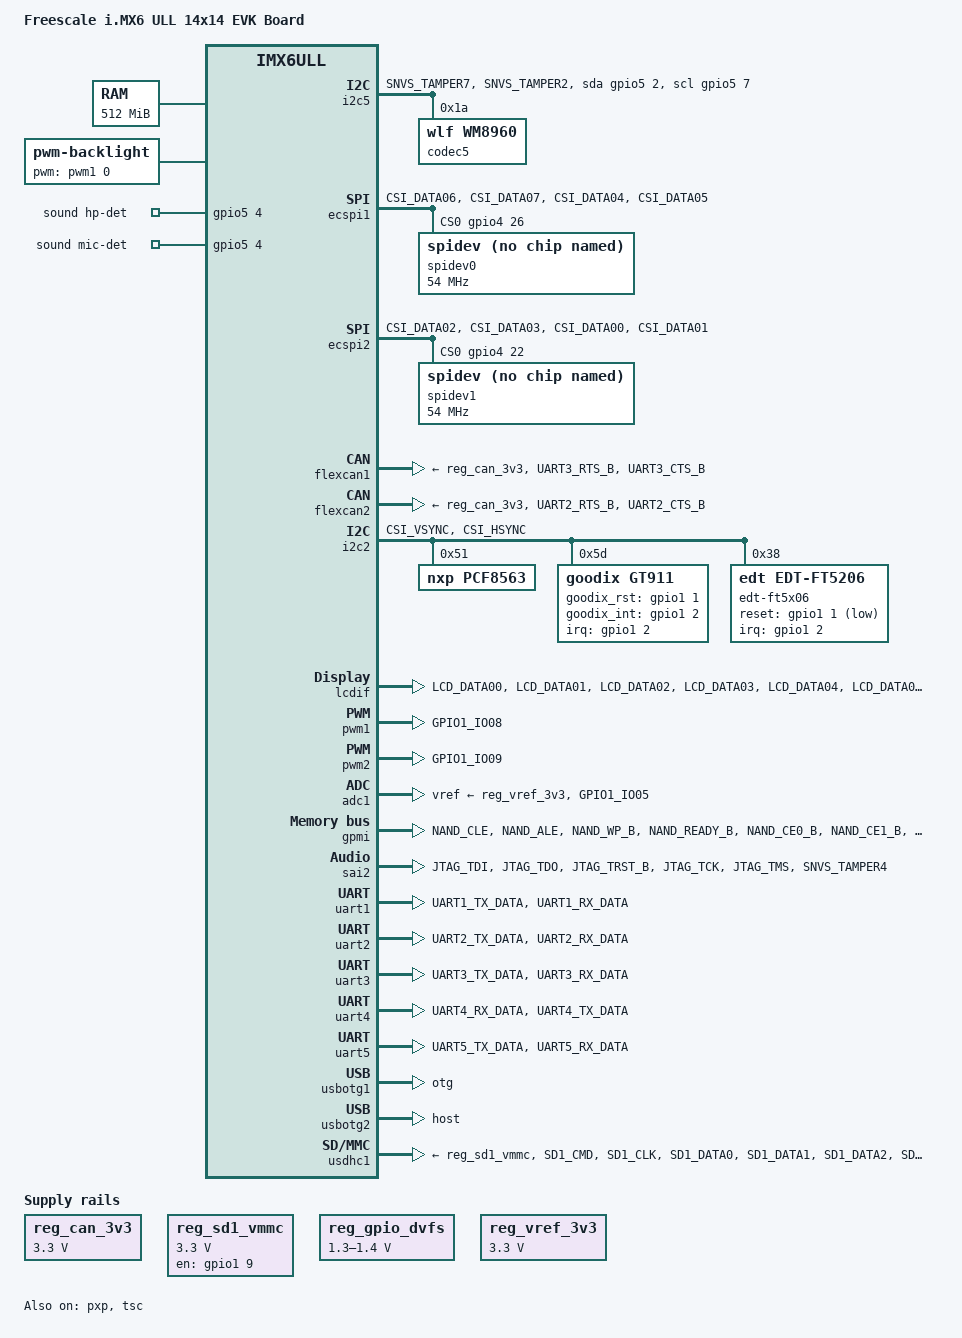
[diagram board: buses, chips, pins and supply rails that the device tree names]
/*
 * Copyright (C) 2016 Freescale Semiconductor, Inc.
 *
 * This program is free software; you can redistribute it and/or modify
 * it under the terms of the GNU General Public License version 2 as
 * published by the Free Software Foundation.
 */

/dts-v1/;

#include <dt-bindings/input/input.h>
#include "imx6ull.dtsi"


/*******************************
** clock tree datasheet P629 **
*******************************/

/ {
	model = "Freescale i.MX6 ULL 14x14 EVK Board";
	compatible = "fsl,imx6ull-14x14-evk", "fsl,imx6ull";

	chosen {
		stdout-path = &uart1;
	};

	memory {
		reg = <0x80000000 0x20000000>;
	};

	reserved-memory {
		#address-cells = <1>;
		#size-cells = <1>;
		ranges;

		linux,cma {
			compatible = "shared-dma-pool";
			reusable;
			size = <0x14000000>;
			linux,cma-default;
		};
	};

	backlight {
		compatible = "pwm-backlight";
		pwms = <&pwm1 0 5000000>;
		brightness-levels = <0 4 8 16 32 64 128 255>;
		default-brightness-level = <6>;
		status = "okay";
	};

	pxp_v4l2 {
		compatible = "fsl,imx6ul-pxp-v4l2", "fsl,imx6sx-pxp-v4l2", "fsl,imx6sl-pxp-v4l2";
		status = "okay";
	};

	regulators {
		compatible = "simple-bus";
		#address-cells = <1>;
		#size-cells = <0>;

		reg_can_3v3: regulator@0 {
			compatible = "regulator-fixed";
			reg = <0>;
			regulator-name = "can-3v3";
			regulator-min-microvolt = <3300000>;
			regulator-max-microvolt = <3300000>;
		};

		reg_sd1_vmmc: regulator@1 {
			compatible = "regulator-fixed";
			regulator-name = "VSD_3V3";
			regulator-min-microvolt = <3300000>;
			regulator-max-microvolt = <3300000>;
			gpio = <&gpio1 9 GPIO_ACTIVE_HIGH>;
			enable-active-high;
		};

		reg_gpio_dvfs: regulator-gpio {
			compatible = "regulator-gpio";
			pinctrl-names = "default";
			pinctrl-0 = <&pinctrl_dvfs>;
			regulator-min-microvolt = <1300000>;
			regulator-max-microvolt = <1400000>;
			regulator-name = "gpio_dvfs";
			regulator-type = "voltage";
			gpios = <&gpio5 3 GPIO_ACTIVE_HIGH>;
			states = <1300000 0x1 1400000 0x0>;
		};

		reg_vref_3v3: regulator@2 {
			compatible = "regulator-fixed";
			regulator-name = "vref-3v3";
			regulator-min-microvolt = <3300000>;
			regulator-max-microvolt = <3300000>;
		};

	};

	sound {
		compatible = "fsl,imx6ul-evk-wm8960",
			   "fsl,imx-audio-wm8960";
		model = "wm8960-audio";
		cpu-dai = <&sai2>;
		audio-codec = <&codec5>;
		asrc-controller = <&asrc>;
		codec-master;
		gpr = <&gpr 4 0x100000 0x100000>;
		/*
                 * hp-det = <hp-det-pin hp-det-polarity>;
		 * hp-det-pin: JD1 JD2  or JD3
		 * hp-det-polarity = 0: hp detect high for headphone
		 * hp-det-polarity = 1: hp detect high for speaker
		 */
		hp-det = <3 0>;
		hp-det-gpios = <&gpio5 4 0>;
		mic-det-gpios = <&gpio5 4 0>;
		audio-routing =
			"Headphone Jack", "HP_L",
			"Headphone Jack", "HP_R",
			"Ext Spk", "SPK_LP",
			"Ext Spk", "SPK_LN",
			"Ext Spk", "SPK_RP",
			"Ext Spk", "SPK_RN",
			"LINPUT2", "Mic Jack",
			"LINPUT3", "Mic Jack",
			"RINPUT1", "Main MIC",
			"RINPUT2", "Main MIC",
			"Mic Jack", "MICB",
			"Main MIC", "MICB",
			"CPU-Playback", "ASRC-Playback",
			"Playback", "CPU-Playback",
			"ASRC-Capture", "CPU-Capture",
			"CPU-Capture", "Capture";
	};

	spi4 {
		compatible = "spi-gpio";
		pinctrl-names = "default";
		pinctrl-0 = <&pinctrl_spi4>;
		pinctrl-assert-gpios = <&gpio5 8 GPIO_ACTIVE_LOW>;
		status = "disabled";
		gpio-sck = <&gpio5 11 0>;
		gpio-mosi = <&gpio5 10 0>;
		cs-gpios = <&gpio5 7 0>;
		num-chipselects = <1>;
		#address-cells = <1>;
		#size-cells = <0>;

		gpio_spi: gpio_spi@0 {
			compatible = "fairchild,74hc595";
			gpio-controller;
			#gpio-cells = <2>;
			reg = <0>;
			registers-number = <1>;
			registers-default = /bits/ 8 <0x57>;
			spi-max-frequency = <100000>;
		};
	};
	leds {
		compatible = "gpio-leds";
		pinctrl-names = "default";
		pinctrl-0 = <&pinctrl_leds>;
		status = "disabled";
/*
		led1 {
			label = "LED1";
			gpios = <&gpio5 2 GPIO_ACTIVE_HIGH>;	//led 使用的引脚，与触发电平
		};
		led2 {
			label = "LED2";
			gpios = <&gpio5 7 GPIO_ACTIVE_HIGH>;
		};
*/		
	};
	//gpio 作为输入时
	gpio-keys {
        compatible = "gpio-keys";
        pinctrl-names = "default";
        pinctrl-0 = <&pinctrl_keys>;
		status = "disabled";
        key0 {
            label = "F1";   
            gpios = <&gpio1 10 GPIO_ACTIVE_HIGH>;  
            gpio-key,wakeup;        
            linux,code = <KEY_F1>; 		//键值。include/dt-bindings/input/input.h
        };
    };

	i2c5 {
		compatible = "i2c-gpio";
		pinctrl-0 = <&pinctrl_gpio_i2c5>;
		//sda, scl
		gpios = <&gpio5 2 GPIO_ACTIVE_HIGH>, <&gpio5 7 GPIO_ACTIVE_HIGH>;

		i2c-gpio,delay-us = <5>;	/* 10us , 100 kHz */
		#address-cells = <1>;
		#size-cells = <0>;
//		status = "disabled";
		status = "okay";

		codec5: wm8960@1a {
			compatible = "wlf,wm8960";
			reg = <0x1a>;
			clocks = <&clks IMX6UL_CLK_SAI2>;
			clock-names = "mclk";
			wlf,shared-lrclk;
		};

	};
};

&ecspi1 {
	fsl,spi-num-chipselects = <1>;
	cs-gpios = <&gpio4 26 0>;
	pinctrl-names = "default";
	pinctrl-0 = <&pinctrl_ecspi1 &pinctrl_ecspi1_cs>;
	status = "okay";

	spidev0: spi@0 {
		compatible = "spidev";
		reg = <0>;
		spi-max-frequency = <54000000>;
	};
/*
	eeprom: at25@0 {
		compatible = "atmel,at25";

		at25,byte-len = <0x100>;
		at25,addr-mode = <1>; //1:8bit addr 2:16bit addr 4:24bit addr
		at25,page-size = <64>;

		spi-max-frequency = <50000000>;
		reg = <0>;
	};
*/
};

&ecspi2 {
	fsl,spi-num-chipselects = <1>;
	cs-gpios = <&gpio4 22 0>;
	pinctrl-names = "default";
	pinctrl-0 = <&pinctrl_ecspi2 &pinctrl_ecspi2_cs>;
	status = "ok";

	spidev1: spi@0 {
		compatible = "spidev";
		reg = <0>;
		spi-max-frequency = <54000000>;
	};

};

&cpu0 {
	arm-supply = <&reg_arm>;
	soc-supply = <&reg_soc>;
	dc-supply = <&reg_gpio_dvfs>;
};

&clks {
	assigned-clocks = <&clks IMX6UL_CLK_PLL4_AUDIO_DIV>;
	assigned-clock-rates = <786432000>;
};
/*
&epit1{
	pinctrl-0 = <&pinctrl_gpio_epit>;
	clkname="imx-epit.0";
	dbgio= <&gpio5 2 GPIO_ACTIVE_HIGH>;
	status = "ok";	
};
*/
&epit2{
	clkname="imx-epit.1";
	status = "disabled";	
};			

&flexcan1 {
	pinctrl-names = "default";
	pinctrl-0 = <&pinctrl_flexcan1>;
	xceiver-supply = <&reg_can_3v3>;
	status = "okay";
};

&flexcan2 {
	pinctrl-names = "default";
	pinctrl-0 = <&pinctrl_flexcan2>;
	xceiver-supply = <&reg_can_3v3>;
	status = "okay";
};

&gpc {
	fsl,cpu_pupscr_sw2iso = <0x1>;
	fsl,cpu_pupscr_sw = <0x0>;
	fsl,cpu_pdnscr_iso2sw = <0x1>;
	fsl,cpu_pdnscr_iso = <0x1>;
	fsl,ldo-bypass = <0>; /* DCDC, ldo-enable */
};
//与串口6冲突
&i2c1 {
	clock_frequency = <100000>;
	pinctrl-names = "default";
	pinctrl-0 = <&pinctrl_i2c1>;
	status = "disabled";
//	status = "ok";
/*
	codec5: wm8960@1a {
		compatible = "wlf,wm8960";
		reg = <0x1a>;
		clocks = <&clks IMX6UL_CLK_SAI2>;
		clock-names = "mclk";
		wlf,shared-lrclk;
		status = "ok";
	};
*/
};

&i2c2 {
	clock_frequency = <50000>;
	pinctrl-names = "default";
	pinctrl-0 = <&pinctrl_i2c2>;
	//status = "disabled";
	status = "ok";

	pcf8563@51 {
		compatible = "nxp,pcf8563";
		reg = <0x51>;
	};
	/*
	codec5: wm8960@1a {
		compatible = "wlf,wm8960";
		reg = <0x1a>;
		clocks = <&clks IMX6UL_CLK_SAI2>;
		clock-names = "mclk";
		wlf,shared-lrclk;
	};
*/
	gt911@5d {
		compatible = "goodix,gt911";
		reg = <0x5d>;
		interrupt-parent = <&gpio1>;
		interrupts = <2 IRQ_TYPE_EDGE_FALLING>;

		goodix_rst=<&gpio1 1 0>;
		goodix_int=<&gpio1 2 0>;

		status = "ok";
	};
	edt-ft5x06@38 {
			compatible = "edt,edt-ft5206", "edt,edt-ft5x06";
			reg = <0x38>;
			pinctrl-names = "default";
			interrupt-parent = <&gpio1>;
			interrupts = <2 IRQ_TYPE_EDGE_FALLING>;
			reset-gpios = <&gpio1 1 1>;
	};
};

&iomuxc {
	pinctrl-names = "default";
	pinctrl-0 = <&pinctrl_hog_1>;
	imx6ul-evk {
		    pinctrl_gpmi_nand_1: gpmi-nand-1 {
		        fsl,pins = <
		            MX6UL_PAD_NAND_CLE__RAWNAND_CLE         0xb0b1
		            MX6UL_PAD_NAND_ALE__RAWNAND_ALE         0xb0b1
		            MX6UL_PAD_NAND_WP_B__RAWNAND_WP_B       0xb0b1
		            MX6UL_PAD_NAND_READY_B__RAWNAND_READY_B 0xb000
		            MX6UL_PAD_NAND_CE0_B__RAWNAND_CE0_B     0xb0b1
		            MX6UL_PAD_NAND_CE1_B__RAWNAND_CE1_B     0xb0b1
		            MX6UL_PAD_NAND_RE_B__RAWNAND_RE_B       0xb0b1
		            MX6UL_PAD_NAND_WE_B__RAWNAND_WE_B       0xb0b1
		            MX6UL_PAD_NAND_DATA00__RAWNAND_DATA00   0xb0b1
		            MX6UL_PAD_NAND_DATA01__RAWNAND_DATA01   0xb0b1
		            MX6UL_PAD_NAND_DATA02__RAWNAND_DATA02   0xb0b1
		            MX6UL_PAD_NAND_DATA03__RAWNAND_DATA03   0xb0b1
		            MX6UL_PAD_NAND_DATA04__RAWNAND_DATA04   0xb0b1
		            MX6UL_PAD_NAND_DATA05__RAWNAND_DATA05   0xb0b1
		            MX6UL_PAD_NAND_DATA06__RAWNAND_DATA06   0xb0b1
		            MX6UL_PAD_NAND_DATA07__RAWNAND_DATA07   0xb0b1
		        >;
		    };	
		pinctrl_hog_1: hoggrp-1 {
			fsl,pins = <
				MX6UL_PAD_UART1_RTS_B__GPIO1_IO19	0x17059 /* SD1 CD */
			>;
		};

		pinctrl_csi1: csi1grp {
			fsl,pins = <
				MX6UL_PAD_CSI_MCLK__CSI_MCLK		0x1b088
				MX6UL_PAD_CSI_PIXCLK__CSI_PIXCLK	0x1b088
				MX6UL_PAD_CSI_VSYNC__CSI_VSYNC		0x1b088
				MX6UL_PAD_CSI_HSYNC__CSI_HSYNC		0x1b088
				MX6UL_PAD_CSI_DATA00__CSI_DATA02	0x1b088
				MX6UL_PAD_CSI_DATA01__CSI_DATA03	0x1b088
				MX6UL_PAD_CSI_DATA02__CSI_DATA04	0x1b088
				MX6UL_PAD_CSI_DATA03__CSI_DATA05	0x1b088
				MX6UL_PAD_CSI_DATA04__CSI_DATA06	0x1b088
				MX6UL_PAD_CSI_DATA05__CSI_DATA07	0x1b088
				MX6UL_PAD_CSI_DATA06__CSI_DATA08	0x1b088
				MX6UL_PAD_CSI_DATA07__CSI_DATA09	0x1b088
			>;
		};

		pinctrl_flexcan1: flexcan1grp{
			fsl,pins = <
				MX6UL_PAD_UART3_RTS_B__FLEXCAN1_RX	0x1b020
				MX6UL_PAD_UART3_CTS_B__FLEXCAN1_TX	0x1b020
			>;
		};

		pinctrl_flexcan2: flexcan2grp{
			fsl,pins = <
				MX6UL_PAD_UART2_RTS_B__FLEXCAN2_RX	0x1b020
				MX6UL_PAD_UART2_CTS_B__FLEXCAN2_TX	0x1b020
			>;
		};

		pinctrl_lcdif_dat: lcdifdatgrp {
			fsl,pins = <
				MX6UL_PAD_LCD_DATA00__LCDIF_DATA00  0x79
				MX6UL_PAD_LCD_DATA01__LCDIF_DATA01  0x79
				MX6UL_PAD_LCD_DATA02__LCDIF_DATA02  0x79
				MX6UL_PAD_LCD_DATA03__LCDIF_DATA03  0x79
				MX6UL_PAD_LCD_DATA04__LCDIF_DATA04  0x79
				MX6UL_PAD_LCD_DATA05__LCDIF_DATA05  0x79
				MX6UL_PAD_LCD_DATA06__LCDIF_DATA06  0x79
				MX6UL_PAD_LCD_DATA07__LCDIF_DATA07  0x79
				MX6UL_PAD_LCD_DATA08__LCDIF_DATA08  0x79
				MX6UL_PAD_LCD_DATA09__LCDIF_DATA09  0x79
				MX6UL_PAD_LCD_DATA10__LCDIF_DATA10  0x79
				MX6UL_PAD_LCD_DATA11__LCDIF_DATA11  0x79
				MX6UL_PAD_LCD_DATA12__LCDIF_DATA12  0x79
				MX6UL_PAD_LCD_DATA13__LCDIF_DATA13  0x79
				MX6UL_PAD_LCD_DATA14__LCDIF_DATA14  0x79
				MX6UL_PAD_LCD_DATA15__LCDIF_DATA15  0x79
				MX6UL_PAD_LCD_DATA16__LCDIF_DATA16  0x79
				MX6UL_PAD_LCD_DATA17__LCDIF_DATA17  0x79
				MX6UL_PAD_LCD_DATA18__LCDIF_DATA18  0x79
				MX6UL_PAD_LCD_DATA19__LCDIF_DATA19  0x79
				MX6UL_PAD_LCD_DATA20__LCDIF_DATA20  0x79
				MX6UL_PAD_LCD_DATA21__LCDIF_DATA21  0x79
				MX6UL_PAD_LCD_DATA22__LCDIF_DATA22  0x79
				MX6UL_PAD_LCD_DATA23__LCDIF_DATA23  0x79
			>;
		};

		pinctrl_lcdif_ctrl: lcdifctrlgrp {
			fsl,pins = <
				MX6UL_PAD_LCD_CLK__LCDIF_CLK	    0x79
				MX6UL_PAD_LCD_ENABLE__LCDIF_ENABLE  0x79
				MX6UL_PAD_LCD_HSYNC__LCDIF_HSYNC    0x79
				MX6UL_PAD_LCD_VSYNC__LCDIF_VSYNC    0x79
			>;
		};
		pinctrl_tsc: tscgrp {
			fsl,pins = <
				MX6UL_PAD_GPIO1_IO01__GPIO1_IO01	0xb0
				MX6UL_PAD_GPIO1_IO02__GPIO1_IO02	0xb0
				MX6UL_PAD_GPIO1_IO03__GPIO1_IO03	0xb0
				MX6UL_PAD_GPIO1_IO04__GPIO1_IO04	0xb0
			>;
		};
		pinctrl_pwm1: pwm1grp {
			fsl,pins = <
				MX6UL_PAD_GPIO1_IO08__PWM1_OUT   0x110b0
			>;
		};
		pinctrl_pwm2: pwm2grp {
			fsl,pins = <
				MX6UL_PAD_GPIO1_IO09__PWM2_OUT 	0x110b0
			>;
		};
		pinctrl_pwm4: pwm4grp {
			fsl,pins = <
				MX6UL_PAD_GPIO1_IO05__PWM4_OUT 	0x110b0
			>;
		};
		pinctrl_adc1: adc1grp{
			fsl,pins = <
				MX6UL_PAD_GPIO1_IO05__GPIO1_IO05	0xb0
			>;
		};


		pinctrl_qspi: qspigrp {
			fsl,pins = <
				MX6UL_PAD_NAND_WP_B__QSPI_A_SCLK      0x70a1
				MX6UL_PAD_NAND_READY_B__QSPI_A_DATA00 0x70a1
				MX6UL_PAD_NAND_CE0_B__QSPI_A_DATA01   0x70a1
				MX6UL_PAD_NAND_CE1_B__QSPI_A_DATA02   0x70a1
				MX6UL_PAD_NAND_CLE__QSPI_A_DATA03     0x70a1
				MX6UL_PAD_NAND_DQS__QSPI_A_SS0_B      0x70a1
			>;
		};

		pinctrl_sai2: sai2grp {
			fsl,pins = <
				MX6UL_PAD_JTAG_TDI__SAI2_TX_BCLK	0x17088
				MX6UL_PAD_JTAG_TDO__SAI2_TX_SYNC	0x17088
				MX6UL_PAD_JTAG_TRST_B__SAI2_TX_DATA	0x11088
				MX6UL_PAD_JTAG_TCK__SAI2_RX_DATA	0x11088
				MX6UL_PAD_JTAG_TMS__SAI2_MCLK		0x17088
			>;
		};


		pinctrl_uart1: uart1grp {
			fsl,pins = <
				MX6UL_PAD_UART1_TX_DATA__UART1_DCE_TX 	0x1b0b1
				MX6UL_PAD_UART1_RX_DATA__UART1_DCE_RX 	0x1b0b1
			>;
		};

		pinctrl_uart2: uart2grp {
			fsl,pins = <
				MX6UL_PAD_UART2_TX_DATA__UART2_DCE_TX	0x1b0b1
				MX6UL_PAD_UART2_RX_DATA__UART2_DCE_RX	0x1b0b1
			>;
		};
		pinctrl_uart3: uart3grp {
			fsl,pins = <
				MX6UL_PAD_UART3_TX_DATA__UART3_DCE_TX	0x1b0b1
				MX6UL_PAD_UART3_RX_DATA__UART3_DCE_RX	0x1b0b1
			>;
		};
		pinctrl_uart4: uart4grp {
			fsl,pins = <
                MX6UL_PAD_UART4_RX_DATA__UART4_DCE_RX 	0x1b0b1
                MX6UL_PAD_UART4_TX_DATA__UART4_DCE_TX 	0x1b0b1
			>;
		};
		pinctrl_uart5: uart5grp {
			fsl,pins = <
                MX6UL_PAD_UART5_TX_DATA__UART5_DCE_TX  	0x1b0b1
                MX6ULL_PAD_UART5_RX_DATA__UART5_DCE_RX 	0x1b0b1
			>;
		};
		pinctrl_uart6: uart6grp {
			fsl,pins = <
				MX6UL_PAD_CSI_MCLK__UART6_DCE_TX 		0x1b0b1
				MX6UL_PAD_CSI_PIXCLK__UART6_DCE_RX  	0x1b0b1 
			>;
		};

		pinctrl_i2c1: i2c1grp {
			fsl,pins = <
				MX6UL_PAD_CSI_MCLK__I2C1_SDA 	  0x4001b8b1
				MX6UL_PAD_CSI_PIXCLK__I2C1_SCL    0x4001b8b1

			>;
		};

		pinctrl_i2c2: i2c2grp {
			fsl,pins = <
				MX6UL_PAD_CSI_VSYNC__I2C2_SDA    0x4001b8b1
				MX6UL_PAD_CSI_HSYNC__I2C2_SCL    0x4001b8b1

			>;
		};
		pinctrl_gpio_i2c5: gpioi2c5grp {
			fsl,pins = <
				MX6ULL_PAD_SNVS_TAMPER7__GPIO5_IO07		0x1b0b1
				MX6ULL_PAD_SNVS_TAMPER2__GPIO5_IO02		0x1b0b1
			>;
		};
		pinctrl_gpio_epit: gpioepit1grp {
			fsl,pins = <
				MX6ULL_PAD_SNVS_TAMPER7__GPIO5_IO07		0x1b0b1
				MX6ULL_PAD_SNVS_TAMPER2__GPIO5_IO02		0x1b0b1
				MX6UL_PAD_UART3_RX_DATA__EPIT1_OUT	0x10071
			>;
		};

		pinctrl_usdhc1: usdhc1grp {
			fsl,pins = <
				MX6UL_PAD_SD1_CMD__USDHC1_CMD     0x17059
				MX6UL_PAD_SD1_CLK__USDHC1_CLK     0x10071
				MX6UL_PAD_SD1_DATA0__USDHC1_DATA0 0x17059
				MX6UL_PAD_SD1_DATA1__USDHC1_DATA1 0x17059
				MX6UL_PAD_SD1_DATA2__USDHC1_DATA2 0x17059
				MX6UL_PAD_SD1_DATA3__USDHC1_DATA3 0x17059
			>;
		};

		pinctrl_usdhc1_100mhz: usdhc1grp100mhz {
			fsl,pins = <
				MX6UL_PAD_SD1_CMD__USDHC1_CMD     0x170b9
				MX6UL_PAD_SD1_CLK__USDHC1_CLK     0x100b9
				MX6UL_PAD_SD1_DATA0__USDHC1_DATA0 0x170b9
				MX6UL_PAD_SD1_DATA1__USDHC1_DATA1 0x170b9
				MX6UL_PAD_SD1_DATA2__USDHC1_DATA2 0x170b9
				MX6UL_PAD_SD1_DATA3__USDHC1_DATA3 0x170b9
			>;
		};

		pinctrl_usdhc1_200mhz: usdhc1grp200mhz {
			fsl,pins = <
				MX6UL_PAD_SD1_CMD__USDHC1_CMD     0x170f9
				MX6UL_PAD_SD1_CLK__USDHC1_CLK     0x100f9
				MX6UL_PAD_SD1_DATA0__USDHC1_DATA0 0x170f9
				MX6UL_PAD_SD1_DATA1__USDHC1_DATA1 0x170f9
				MX6UL_PAD_SD1_DATA2__USDHC1_DATA2 0x170f9
				MX6UL_PAD_SD1_DATA3__USDHC1_DATA3 0x170f9
			>;
		};
		pinctrl_wdog: wdoggrp {
			fsl,pins = <
				MX6UL_PAD_LCD_RESET__WDOG1_WDOG_ANY    0x30b0
			>;
		};

		pinctrl_ecspi1: ecspi1grp {
			fsl,pins = <
				MX6UL_PAD_CSI_DATA06__ECSPI1_MOSI 0x10b0
				MX6UL_PAD_CSI_DATA07__ECSPI1_MISO 0x10b0
				MX6UL_PAD_CSI_DATA04__ECSPI1_SCLK 0x10b0
			>;
		};
		pinctrl_ecspi1_cs: ecspi1_cs_grp {
			fsl,pins = <
				MX6UL_PAD_CSI_DATA05__GPIO4_IO26  0x10b0
			>;
		};
		pinctrl_ecspi2: ecspi2grp {
			fsl,pins = <
				MX6UL_PAD_CSI_DATA02__ECSPI2_MOSI 0x10b0
				MX6UL_PAD_CSI_DATA03__ECSPI2_MISO 0x10b0
				MX6UL_PAD_CSI_DATA00__ECSPI2_SCLK 0x10b0
			>;
		};
		pinctrl_ecspi2_cs: ecspi2_cs_grp {
			fsl,pins = <
				MX6UL_PAD_CSI_DATA01__GPIO4_IO22  0x10b0
			>;
		};		
	};
};

&iomuxc_snvs {
	pinctrl-names = "default_snvs";
        pinctrl-0 = <&pinctrl_hog_2>;
        imx6ul-evk {
		pinctrl_hog_2: hoggrp-2 {
                        fsl,pins = <
                                MX6ULL_PAD_SNVS_TAMPER0__GPIO5_IO00      	0x80000000
                                MX6UL_PAD_JTAG_MOD__GPIO1_IO10 				0x80000000
                        >;
                };

		pinctrl_dvfs: dvfsgrp {
                        fsl,pins = <
                                MX6ULL_PAD_SNVS_TAMPER3__GPIO5_IO03      0x79
                        >;
                };
		
		pinctrl_lcdif_reset: lcdifresetgrp {
                        fsl,pins = <
                                /* used for lcd reset */
                                MX6ULL_PAD_SNVS_TAMPER9__GPIO5_IO09  0x79
                        >;
                };

		pinctrl_spi4: spi4grp {
                        fsl,pins = <
                                MX6ULL_PAD_BOOT_MODE0__GPIO5_IO10        0x70a1
                                MX6ULL_PAD_BOOT_MODE1__GPIO5_IO11        0x70a1
                                MX6ULL_PAD_SNVS_TAMPER7__GPIO5_IO07      0x70a1
                                MX6ULL_PAD_SNVS_TAMPER8__GPIO5_IO08      0x80000000
                        >;
                };

        pinctrl_sai2_hp_det_b: sai2_hp_det_grp {
                        fsl,pins = <
                                MX6ULL_PAD_SNVS_TAMPER4__GPIO5_IO04   0x17059
                        >;
                };

		pinctrl_leds: ledsgrp {
                        fsl,pins = <
                               	MX6ULL_PAD_SNVS_TAMPER7__GPIO5_IO07     0x70a1
                               	MX6ULL_PAD_SNVS_TAMPER2__GPIO5_IO02 	0x70a1
                        >;
                };
		pinctrl_keys: keysgrp {
                        fsl,pins = <
                               	MX6UL_PAD_JTAG_MOD__GPIO1_IO10 		0x17059			
                        >;
                };
        };
};


&lcdif {
	pinctrl-names = "default";
	pinctrl-0 = <&pinctrl_lcdif_dat
		     &pinctrl_lcdif_ctrl
		     &pinctrl_lcdif_reset>;
	display = <&display0>;
	status = "okay";

	display0: display {
		bits-per-pixel = <32>;
		bus-width = <24>;

		display-timings {
			native-mode = <&timing0>;
			timing0: timing0 {
				mode_name = "lcd_5hd";
				clock-frequency = <48000000>;
				hactive = <800>;
				vactive = <480>;
				hfront-porch = <8>;
				hback-porch = <4>;
				hsync-len = <41>;
				vback-porch = <2>;
				vfront-porch = <4>;
				vsync-len = <10>;

				hsync-active = <0>;
				vsync-active = <0>;
				de-active = <1>; 
				pixelclk-active = <0>;
			};
		};
	};
};

&pwm1 {
	pinctrl-names = "default";
	pinctrl-0 = <&pinctrl_pwm1>;
	status = "okay";
};

/*
echo 0 > /sys/class/pwm/pwmchip1/export 
echo 1 > /sys/class/pwm/pwmchip1/pwm0/enable 
echo 10000 > /sys/class/pwm/pwmchip1/pwm0/period	//us, 100K
echo 3000 > /sys/class/pwm/pwmchip1/pwm0/duty_cycle //us, 30%
*/
&pwm2 {
        pinctrl-names = "default";
        pinctrl-0 = <&pinctrl_pwm2>;
        clocks = <&clks IMX6UL_CLK_PWM2>,
                        <&clks IMX6UL_CLK_PWM2>;
        clock-names = "ipg", "per";
        status = "okay";
};
//与adc通道5管脚复用
&pwm4 {
        pinctrl-names = "default";
        pinctrl-0 = <&pinctrl_pwm4>;
        clocks = <&clks IMX6UL_CLK_PWM4>,
                        <&clks IMX6UL_CLK_PWM4>;
        clock-names = "ipg", "per";
        status = "disabled";
};

//与pwm4管脚复用,adc1与pwm4只能开启一个
//cat /sys/devices/platform/soc/2100000.aips-bus/2198000.adc/iio:device0/in_voltage5_raw
&adc1 {
	pinctrl-names = "default";
	pinctrl-0 = <&pinctrl_adc1>;
	vref-supply = <&reg_vref_3v3>;
	num-channels = <1>;
	status = "okay";
};

&pxp {
	status = "okay";
};

&qspi {
	pinctrl-names = "default";
	pinctrl-0 = <&pinctrl_qspi>;
	status = "disabled";
	ddrsmp=<0>;

	flash0: n25q256a@0 {
		#address-cells = <1>;
		#size-cells = <1>;
		compatible = "micron,n25q256a";
		spi-max-frequency = <29000000>;
		spi-nor,ddr-quad-read-dummy = <6>;
		reg = <0>;
	};
};

&gpmi {
	pinctrl-names = "default";
	pinctrl-0 = <&pinctrl_gpmi_nand_1>;
	status = "okay";
	nand-on-flash-bbt;
};

&sai2 {
	pinctrl-names = "default";
	pinctrl-0 = <&pinctrl_sai2
		     &pinctrl_sai2_hp_det_b>;

	assigned-clocks = <&clks IMX6UL_CLK_SAI2_SEL>,
			  <&clks IMX6UL_CLK_SAI2>;
	assigned-clock-parents = <&clks IMX6UL_CLK_PLL4_AUDIO_DIV>;
	assigned-clock-rates = <0>, <12288000>;

	status = "okay";
};

&tsc {
	pinctrl-names = "default";
	pinctrl-0 = <&pinctrl_tsc>;
	xnur-gpio = <&gpio1 3 GPIO_ACTIVE_LOW>;
	measure-delay-time = <0x8fff>;
	pre-charge-time = <0x3ff>;
	status = "okay";
};

&uart1 {
	pinctrl-names = "default";
	pinctrl-0 = <&pinctrl_uart1>;
	status = "okay";
};

&uart2 {
	pinctrl-names = "default";
	pinctrl-0 = <&pinctrl_uart2>;
	/*fsl,uart-has-rtscts;*/
	/* for DTE mode, add below change */
	/* fsl,dte-mode; */
	/* pinctrl-0 = <&pinctrl_uart2dte>; */
	status = "okay";
};

&uart3 {
	pinctrl-names = "default";
	pinctrl-0 = <&pinctrl_uart3>;
	status = "okay";
};

&uart4 {
	pinctrl-names = "default";
	pinctrl-0 = <&pinctrl_uart4>;
	status = "okay";
};

&uart5 {
	pinctrl-names = "default";
	pinctrl-0 = <&pinctrl_uart5>;
	status = "okay";
};

/*&uart6 {
	pinctrl-names = "default";
	pinctrl-0 = <&pinctrl_uart6>;
	status = "okay";
};
*/
&usbotg1 {
	dr_mode = "otg";
	srp-disable;
	hnp-disable;
	adp-disable;
	status = "okay";
};

&usbotg2 {
	dr_mode = "host";
	disable-over-current;
	status = "okay";
};

&usbphy1 {
	tx-d-cal = <0x5>;
};

&usbphy2 {
	tx-d-cal = <0x5>;
};

&usdhc1 {
	pinctrl-names = "default", "state_100mhz", "state_200mhz";
	pinctrl-0 = <&pinctrl_usdhc1>;
	cd-gpios = <&gpio1 19 GPIO_ACTIVE_LOW>;
	keep-power-in-suspend;
	enable-sdio-wakeup;
	vmmc-supply = <&reg_sd1_vmmc>;
	status = "okay";
};


&wdog1 {
	pinctrl-names = "default";
	pinctrl-0 = <&pinctrl_wdog>;
	fsl,wdog_b;
};
